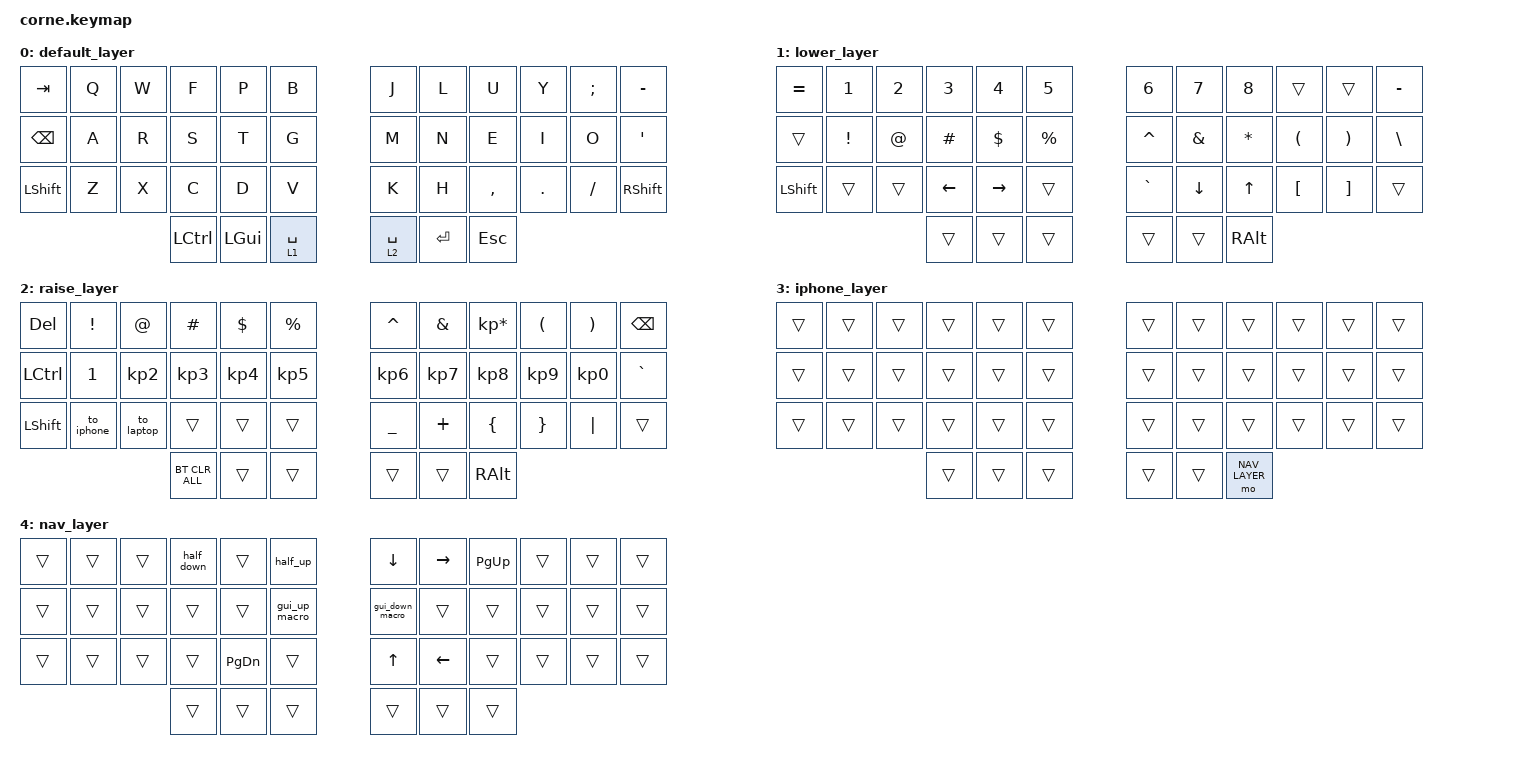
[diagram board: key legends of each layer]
/*
 * Copyright (c) 2020 The ZMK Contributors
 *
 * SPDX-License-Identifier: MIT
 */

#include <behaviors.dtsi>
#include <dt-bindings/zmk/bt.h>
#include <dt-bindings/zmk/keys.h>
#include <dt-bindings/zmk/modifiers.h>

/* Confirm these profile numbers before flashing. ZMK profiles are 0-indexed. */
#define LAPTOP_SLOT 0
#define PHONE_SLOT 1
#define BASE_LAYER 0
#define IPHONE_LAYER 3
#define NAV_LAYER 4
#define HOST_SWITCH_WAIT_MS 10
#define HOST_SWITCH_TAP_MS 10
#define IPHONE_HANDOFF_WAIT_MS 300
#define LAPTOP_RECONNECT_WAIT_MS 1500

/ {
    macros {
        to_iphone: to_iphone {
            compatible = "zmk,behavior-macro";
            #binding-cells = <0>;
            wait-ms = <HOST_SWITCH_WAIT_MS>;
            tap-ms = <HOST_SWITCH_TAP_MS>;
            /* macro_wait_time applies after subsequent behaviors. */
            bindings = <&macro_wait_time IPHONE_HANDOFF_WAIT_MS>
                     , <&kp LS(LC(LA(LG(T))))>
                     , <&macro_wait_time HOST_SWITCH_WAIT_MS>
                     , <&bt BT_SEL PHONE_SLOT>
                     , <&to IPHONE_LAYER>;
        };

        to_laptop: to_laptop {
            compatible = "zmk,behavior-macro";
            #binding-cells = <0>;
            wait-ms = <HOST_SWITCH_WAIT_MS>;
            tap-ms = <HOST_SWITCH_TAP_MS>;
            /* The reconnect wait is attached to BT_SEL before the hotkey. */
            bindings = <&macro_wait_time LAPTOP_RECONNECT_WAIT_MS>
                     , <&bt BT_SEL LAPTOP_SLOT>
                     , <&macro_wait_time HOST_SWITCH_WAIT_MS>
                     , <&kp LC(LA(LG(T)))>
                     , <&to BASE_LAYER>;
        };

        gui_up_macro: gui_up_macro {
            compatible = "zmk,behavior-macro";
            #binding-cells = <0>;
            bindings = <&macro_press &kp LGUI>
                     , <&macro_tap &kp UP>
                     , <&macro_release &kp LGUI>;
        };

        gui_down_macro: gui_down_macro {
            compatible = "zmk,behavior-macro";
            #binding-cells = <0>;
            bindings = <&macro_press &kp LGUI>
                     , <&macro_tap &kp DOWN>
                     , <&macro_release &kp LGUI>;
        };

        half_down: half_down {
            compatible = "zmk,behavior-macro";
            #binding-cells = <0>;
            wait-ms = <5>;
            tap-ms = <5>;
            bindings = <&macro_tap &kp DOWN &kp DOWN &kp DOWN &kp DOWN &kp DOWN &kp DOWN &kp DOWN &kp DOWN>;
        };

        half_up: half_up {
            compatible = "zmk,behavior-macro";
            #binding-cells = <0>;
            wait-ms = <5>;
            tap-ms = <5>;
            bindings = <&macro_tap &kp UP &kp UP &kp UP &kp UP &kp UP &kp UP &kp UP &kp UP>;
        };
    };

    keymap {
        compatible = "zmk,keymap";

        default_layer {
            // -----------------------------------------------------------------------------------------
            // |  TAB |  Q  |  W  |  E  |  R  |  T  |   |  Y  |  U   |  I  |  O  |  P  | BKSP |
            // | CTRL |  A  |  S  |  D  |  F  |  G  |   |  H  |  J   |  K  |  L  |  ;  |  '   |
            // | SHFT |  Z  |  X  |  C  |  V  |  B  |   |  N  |  M   |  ,  |  .  |  /  | ESC  |
            //                    | GUI | LWR | SPC |   | ENT | RSE  | ALT |

            bindings = <
&kp TAB    &kp Q  &kp W  &kp F      &kp P     &kp B          &kp J        &kp L    &kp U      &kp Y    &kp SEMI  &kp MINUS
&kp BSPC   &kp A  &kp R  &kp S      &kp T     &kp G          &kp M        &kp N    &kp E      &kp I    &kp O     &kp SQT
&kp LSHFT  &kp Z  &kp X  &kp C      &kp D     &kp V          &kp K        &kp H    &kp COMMA  &kp DOT  &kp FSLH  &kp RSHFT
                         &kp LCTRL  &kp LGUI  &lt 1 SPACE    &lt 2 SPACE  &kp RET  &kp ESC
            >;
        };

        lower_layer {
            // -----------------------------------------------------------------------------------------
            // |  TAB |  1  |  2  |  3  |  4  |  5  |   |  6  |  7  |  8  |  9  |  0  | BKSP |
            // | BTCLR| BT1 | BT2 | BT3 | BT4 | BT5 |   | LFT | DWN |  UP | RGT |     |      |
            // | SHFT |     |     |     |     |     |   |     |     |     |     |     |      |
            //                    | GUI |     | SPC |   | ENT |     | ALT |

            bindings = <
&kp EQUAL  &kp N1    &kp N2  &kp N3          &kp N4      &kp N5       &kp N6     &kp N7    &kp N8        &trans                &trans                 &kp MINUS
&trans     &kp EXCL  &kp AT  &kp HASH        &kp DOLLAR  &kp PRCNT    &kp CARET  &kp AMPS  &kp ASTERISK  &kp LEFT_PARENTHESIS  &kp RIGHT_PARENTHESIS  &kp BACKSLASH
&kp LSHFT  &trans    &trans  &kp LEFT_ARROW  &kp RIGHT   &trans       &kp GRAVE  &kp DOWN  &kp UP_ARROW  &kp LEFT_BRACKET      &kp RIGHT_BRACKET      &trans
                             &trans          &trans      &trans       &trans     &trans    &kp RALT
            >;
        };

        raise_layer {
            // -----------------------------------------------------------------------------------------
            // |  TAB |  !  |  @  |  #  |  $  |  %  |   |  ^  |  &  |  *  |  (  |  )  | BKSP |
            // | CTRL |     |     |     |     |     |   |  -  |  =  |  [  |  ]  |  \  |  `   |
            // | SHFT |     |     |     |     |     |   |  _  |  +  |  {  |  }  | "|" |  ~   |
            //                    | GUI |     | SPC |   | ENT |     | ALT |

            // Hold the RSE thumb key, then press Z for iPhone or X for laptop.
            bindings = <
&kp DEL    &kp EXCL      &kp AT           &kp HASH        &kp DLLR   &kp PRCNT    &kp CARET  &kp AMPS   &kp KP_MULTIPLY  &kp LPAR         &kp RPAR   &kp BSPC
&kp LCTRL  &kp NUMBER_1  &kp KP_NUMBER_2  &kp KP_N3       &kp KP_N4  &kp KP_N5    &kp KP_N6  &kp KP_N7  &kp KP_N8        &kp KP_NUMBER_9  &kp KP_N0  &kp GRAVE
&kp LSHFT  &to_iphone   &to_laptop       &trans          &trans     &trans       &kp UNDER  &kp PLUS   &kp LBRC         &kp RBRC         &kp PIPE   &trans
                                          &bt BT_CLR_ALL  &trans       &trans     &trans     &trans     &kp RALT
            >;
        };

        iphone_layer {
            // Transparent fallback preserves the laptop layout; the outer R thumb holds NAV.
            bindings = <
&trans      &trans      &trans      &trans      &trans      &trans       &trans      &trans      &trans      &trans      &trans      &trans
&trans      &trans      &trans      &trans      &trans      &trans       &trans      &trans      &trans      &trans      &trans      &trans
&trans      &trans      &trans      &trans      &trans      &trans       &trans      &trans      &trans      &trans      &trans      &trans
                         &trans      &trans      &trans       &trans      &trans      &mo NAV_LAYER
            >;
        };

        nav_layer {
            // These positions follow the existing Colemak-DH key bindings, not the stale layout comments.
            bindings = <
&trans      &trans      &trans      &half_down  &trans      &half_up     &kp DOWN   &kp RIGHT  &kp PG_UP  &trans      &trans      &trans
&trans      &trans      &trans      &trans      &trans      &gui_up_macro &gui_down_macro &trans    &trans      &trans      &trans      &trans
&trans      &trans      &trans      &trans      &kp PG_DN   &trans       &kp UP     &kp LEFT   &trans      &trans      &trans      &trans
                         &trans      &trans      &trans       &trans      &trans      &trans
            >;
        };
    };
};
